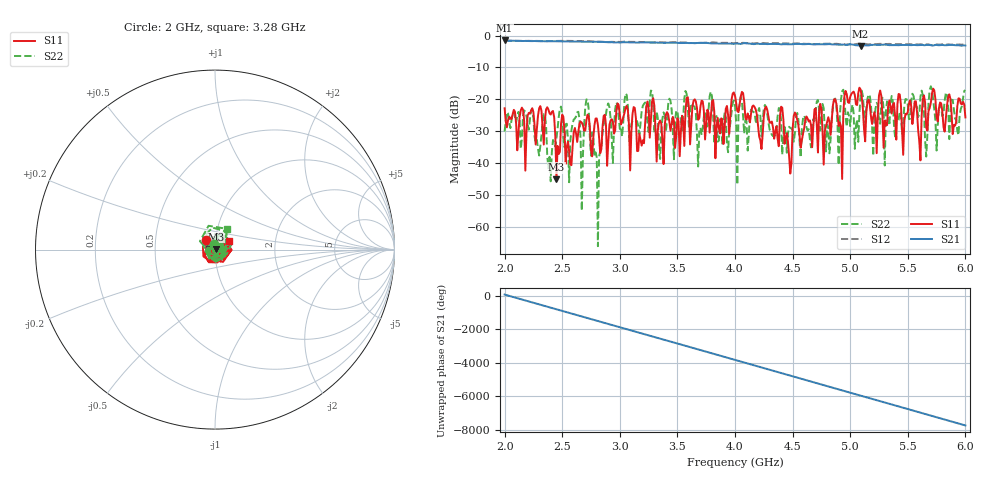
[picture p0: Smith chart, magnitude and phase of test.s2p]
!Agilent Technologies,N5247A,US51370340,A.09.90.02
!Agilent N5247A: A.09.90.02
!Date: Wednesday, May 31, 2017 18:14:30
!Correction: S22(Off)
!S42(Off)
!S24(Off)
!S44(Off)
!S2P File: Measurements: S22, S42, S24, S44:
# Hz S  RI  R 50
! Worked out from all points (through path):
!   401 points, 2 GHz to 6 GHz, reference 50 ohm
!   highest |S21| = -1.55 dB at 2 GHz (marker M1); lowest = -3.3 dB at 5.09 GHz (marker M2)
!   group delay of S21, straight-line fit = 5.42 ns
!   lowest |S11| = -45.1 dB at 2.45 GHz (marker M3), VSWR 1.01, Z = 50.4 + j0.343 ohm
!   |S11| at or under -10 dB: start of sweep to end of sweep
!   |S22| runs from -66.0 to -15.9 dB; largest |S21 - S12| = 1.6
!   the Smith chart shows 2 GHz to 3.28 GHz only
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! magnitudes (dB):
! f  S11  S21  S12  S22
! 2 GHz  -22.8  -1.5  -1.6  -30.1
! 2.34 GHz  -34.1  -1.8  -1.7  -24.6
! 2.39 GHz  -24.4  -1.8  -1.7  -38.0
! 2.45 GHz  -45.1  -1.8  -1.7  -32.2
! 2.63 GHz  -33.3  -1.9  -1.7  -24.1
! 2.67 GHz  -27.3  -1.9  -1.8  -54.9
! 2.71 GHz  -26.6  -2.0  -1.8  -20.0
! 2.8 GHz  -26.0  -2.0  -1.9  -38.1
! 2.89 GHz  -40.8  -2.1  -2.0  -22.2
! 3.34 GHz  -27.3  -2.3  -2.1  -34.8
! 3.57 GHz  -23.9  -2.3  -2.2  -17.4
! 3.69 GHz  -26.0  -2.3  -2.3  -29.7
! 3.79 GHz  -25.6  -2.5  -2.3  -17.6
! 4 GHz  -18.9  -2.6  -2.4  -21.9
! 4.41 GHz  -22.6  -2.7  -2.4  -37.4
! 4.47 GHz  -38.0  -2.7  -2.5  -28.6
! 4.52 GHz  -24.1  -2.6  -2.5  -30.5
! 4.67 GHz  -35.0  -2.7  -2.7  -28.2
! 5.09 GHz  -16.9  -3.3  -2.6  -18.7
! 5.34 GHz  -20.3  -3.0  -2.6  -28.2
! 5.93 GHz  -22.1  -3.1  -2.8  -29.9
! 6 GHz  -25.7  -3.2  -2.7  -17.1
